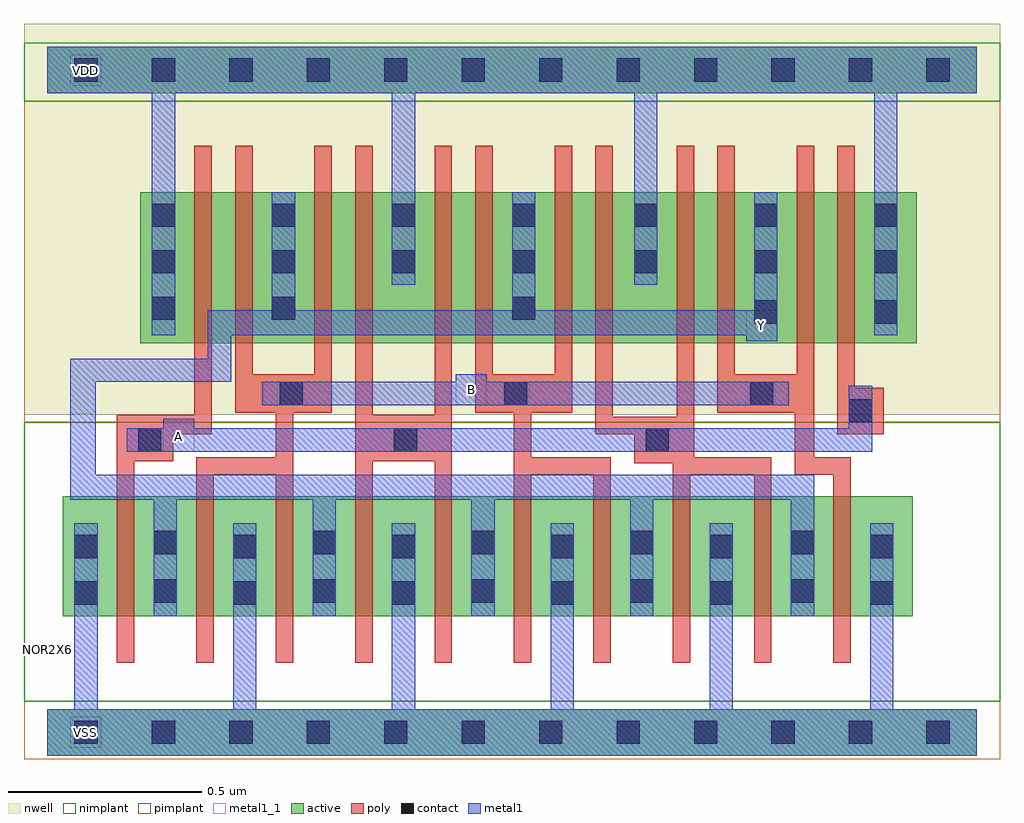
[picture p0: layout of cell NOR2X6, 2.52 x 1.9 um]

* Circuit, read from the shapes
.subckt NOR2X6 A B VDD VSS Y
M1 Y A VSS VSS nfet w=0.31u l=0.045u m=5
M2 VSS B Y VSS nfet w=0.31u l=0.045u m=5
M3 n1 A VDD VDD pfet w=0.39u l=0.045u
M4 Y B n1 VDD pfet w=0.39u l=0.045u
M5 n2 B Y VDD pfet w=0.39u l=0.045u
M6 VDD A n2 VDD pfet w=0.39u l=0.045u
M7 n3 A VDD VDD pfet w=0.39u l=0.045u
M8 Y B n3 VDD pfet w=0.39u l=0.045u
M9 n4 B Y VDD pfet w=0.39u l=0.045u
M10 VDD A n4 VDD pfet w=0.39u l=0.045u
M11 n5 A VDD VDD pfet w=0.39u l=0.045u
M12 Y B n5 VDD pfet w=0.39u l=0.045u
M13 n6 B Y VDD pfet w=0.39u l=0.045u
M14 VDD A n6 VDD pfet w=0.39u l=0.045u
.ends

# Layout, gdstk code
import gdstk
lib = gdstk.Library(unit=1e-6, precision=5e-10)
def R(c, l, rs):  # rectangles x0, y0, x1, y1
    for r in rs: c.add(gdstk.rectangle(r[:2], r[2:], *l))
def A(c, l, x, y, w, h, nx, ny, dx, dy):  # array of equal rectangles
    R(c, l, [(x+i*dx, y+j*dy, x+i*dx+w, y+j*dy+h) for i in range(nx) for j in range(ny)])
def P(c, l, *ps):  # polygons
    for p in ps: c.add(gdstk.Polygon(p, *l))
active = (1, 0)
nwell = (2, 0)
poly = (3, 0)
nimplant = (4, 0)
pimplant = (5, 0)
contact = (6, 0)
metal1 = (7, 0)
metal1_1 = (7, 1)

nor2x6 = lib.new_cell('NOR2X6')
R(nor2x6, active, [(0,-0.06,2.4,0.06), (0.04,0.3,2.235,0.61), (0.24,1.005,2.245,1.395), (0,1.65,2.4,1.77)])
R(nor2x6, nwell, [(-0.06,0.82,2.46,1.83)])
P(nor2x6, poly, [(2.075,0.71),(1.98,0.71),(1.98,1.515),(1.935,1.515),(1.935,0.925),(1.775,0.925),(1.775,1.515),(1.73,1.515),(1.73,0.825),(1.93,0.825),(1.93,0.665),(2.03,0.665),(2.03,0.18),(2.075,0.18)],
  [(1.87,0.71),(1.67,0.71),(1.67,1.515),(1.625,1.515),(1.625,0.815),(1.46,0.815),(1.46,1.515),(1.415,1.515),(1.415,0.77),(1.515,0.77),(1.515,0.695),(1.615,0.695),(1.615,0.18),(1.66,0.18),(1.66,0.665),(1.825,0.665),(1.825,0.18),(1.87,0.18)],
  [(0.425,1.515),(0.38,1.515),(0.38,0.82),(0.18,0.82),(0.18,0.18),(0.225,0.18),(0.225,0.7),(0.325,0.7),(0.325,0.77),(0.425,0.77)],
  [(1.455,0.71),(1.25,0.71),(1.25,0.825),(1.355,0.825),(1.355,1.515),(1.31,1.515),(1.31,0.925),(1.15,0.925),(1.15,1.515),(1.105,1.515),(1.105,0.825),(1.205,0.825),(1.205,0.18),(1.25,0.18),(1.25,0.665),(1.41,0.665),(1.41,0.18),(1.455,0.18)],
  [(0.735,1.515),(0.69,1.515),(0.69,0.925),(0.53,0.925),(0.53,1.515),(0.485,1.515),(0.485,0.825),(0.59,0.825),(0.59,0.71),(0.385,0.71),(0.385,0.18),(0.43,0.18),(0.43,0.665),(0.59,0.665),(0.59,0.18),(0.635,0.18),(0.635,0.825),(0.735,0.825)],
  [(1.045,1.515),(1,1.515),(1,0.82),(0.84,0.82),(0.84,1.515),(0.795,1.515),(0.795,0.18),(0.84,0.18),(0.84,0.7),(1,0.7),(1,0.18),(1.045,0.18)],
  [(2.16,0.89),(2.085,0.89),(2.085,1.515),(2.04,1.515),(2.04,0.77),(2.16,0.77)])
R(nor2x6, nimplant, [(-0.06,0.08,2.46,0.8), (-0.06,1.63,2.46,1.78)])
R(nor2x6, pimplant, [(-0.06,-0.07,2.46,0.08), (-0.06,0.8,2.46,1.63)])
A(nor2x6, contact, 0.07, -0.03, 0.06, 0.06, 12, 2, 0.2, 1.71)
A(nor2x6, contact, 0.07, 0.33, 0.06, 0.06, 5, 2, 0.41, 0.12)
A(nor2x6, contact, 0.275, 0.335, 0.06, 0.06, 4, 2, 0.41, 0.125)
A(nor2x6, contact, 0.27, 1.185, 0.06, 0.06, 4, 2, 0.31, 0.12)
A(nor2x6, contact, 1.515, 1.185, 0.06, 0.06, 3, 2, 0.31, 0.12)
R(nor2x6, contact, [(2.125,0.33,2.185,0.39), (1.92,0.335,1.98,0.395), (2.125,0.45,2.185,0.51), (1.92,0.46,1.98,0.52), (0.235,0.725,0.295,0.785), (0.895,0.725,0.955,0.785), (1.545,0.725,1.605,0.785), (2.07,0.8,2.13,0.86), (0.6,0.845,0.66,0.905), (1.18,0.845,1.24,0.905), (1.815,0.845,1.875,0.905), (1.825,1.055,1.885,1.115), (2.135,1.055,2.195,1.115), (0.27,1.065,0.33,1.125), (0.58,1.065,0.64,1.125), (1.2,1.065,1.26,1.125)])
P(nor2x6, metal1, [(2.4,1.77),(0,1.77),(0,1.65),(0.27,1.65),(0.27,1.025),(0.33,1.025),(0.33,1.65),(0.89,1.65),(0.89,1.155),(0.95,1.155),(0.95,1.65),(1.515,1.65),(1.515,1.155),(1.575,1.155),(1.575,1.65),(2.135,1.65),(2.135,1.025),(2.195,1.025),(2.195,1.65),(2.4,1.65)],
  [(2.4,0.06),(2.185,0.06),(2.185,0.54),(2.125,0.54),(2.125,0.06),(1.77,0.06),(1.77,0.54),(1.71,0.54),(1.71,0.06),(1.36,0.06),(1.36,0.54),(1.3,0.54),(1.3,0.06),(0.95,0.06),(0.95,0.54),(0.89,0.54),(0.89,0.06),(0.54,0.06),(0.54,0.54),(0.48,0.54),(0.48,0.06),(0.13,0.06),(0.13,0.54),(0.07,0.54),(0.07,0.06),(0,0.06),(0,-0.06),(2.4,-0.06)],
  [(1.915,0.905),(1.135,0.905),(1.135,0.925),(1.055,0.925),(1.055,0.905),(0.555,0.905),(0.555,0.845),(1.915,0.845)],
  [(1.98,0.665),(0.125,0.665),(0.125,0.905),(0.475,0.905),(0.475,1.025),(1.805,1.025),(1.805,1.01),(1.885,1.01),(1.885,1.395),(1.825,1.395),(1.825,1.09),(1.26,1.09),(1.26,1.395),(1.2,1.395),(1.2,1.09),(0.64,1.09),(0.64,1.395),(0.58,1.395),(0.58,1.09),(0.415,1.09),(0.415,0.965),(0.06,0.965),(0.06,0.6),(0.275,0.6),(0.275,0.3),(0.335,0.3),(0.335,0.6),(0.685,0.6),(0.685,0.3),(0.745,0.3),(0.745,0.6),(1.095,0.6),(1.095,0.3),(1.155,0.3),(1.155,0.6),(1.505,0.6),(1.505,0.3),(1.565,0.3),(1.565,0.6),(1.92,0.6),(1.92,0.3),(1.98,0.3)],
  [(2.13,0.895),(2.07,0.895),(2.07,0.785),(0.38,0.785),(0.38,0.81),(0.3,0.81),(0.3,0.785),(0.205,0.785),(0.205,0.725),(2.13,0.725)])
R(nor2x6, metal1_1, [(0.06,-0.04,0.14,0.04), (0.3,0.725,0.38,0.805), (1.055,0.845,1.135,0.925), (1.805,1.01,1.885,1.09), (0.06,1.67,0.14,1.75)])
nor2x6.add(gdstk.Label('VSS', (0.1,0), layer=7, texttype=1))
nor2x6.add(gdstk.Label('VDD', (0.1,1.71), layer=7, texttype=1))
nor2x6.add(gdstk.Label('A', (0.34,0.765), layer=7, texttype=1))
nor2x6.add(gdstk.Label('B', (1.095,0.885), layer=7, texttype=1))
nor2x6.add(gdstk.Label('Y', (1.845,1.05), layer=7, texttype=1))
nor2x6.add(gdstk.Label('NOR2X6', (0,0.215), layer=63, texttype=0))

lib.write_gds('NOR2X6.gds')
